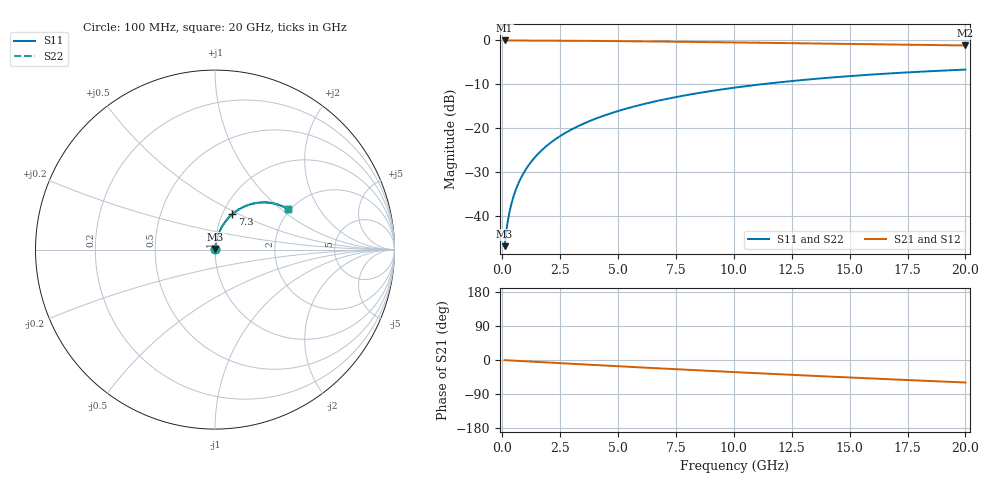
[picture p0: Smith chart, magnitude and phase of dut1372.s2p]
! Touchstone file exported from HFSS 2026.1.0
!  File:  C:/ffzhzh/LocalFiles/Ansys_Project_Files/temp_train_BSMRDL_1372_1783179369_55132.aedt
!  Generated:  11:37:38 PM Jul  4, 2026
!  Design:  BSMRDL
!  Project:  temp_train_BSMRDL_1372_1783179369_55132
! Variables:
!  h_bsmrdl = 5.31um
!  h_ox = 20um
!  h_rdl = 5um
!  h_sub = 80um
!  h_tmrdl = 5um
!  h_tsv = 80um
!  h_via = 3um
!  l_bsmrdl = 945.01um
!  l_sub = 1345.01um
!  l_tmrdl = 200um
!  m_sub = 200um
!  pitch = 55.1um
!  r_tsv = 6um
!  s_tmrdl = 10um
!  w_bsmrdl = 25.39um
!  w_sub = 500um
!  w_tmrdl = 12um
!  x_tsv_center1 = 206um
!  x_tsv_center2 = 1176.4um
!  x_tsv_center3 = 1388.4um
!  x_tsv_center4 = 2358.8um
!  x_tsv_center5 = 2570.8um
!  x_tsv_center6 = 3541.2um
# GHz S MA R 50.000000
! Terminal data exported
! Port[1] = BSM_RDL1_1_T1
! Port[2] = BSM_RDL1_1_T2
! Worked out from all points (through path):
!   200 points, 100 MHz to 20 GHz, reference 50 ohm
!   highest |S21| = -0.02 dB at 100 MHz (marker M1); lowest = -1.2 dB at 20 GHz (marker M2)
!   group delay of S21, straight-line fit = 8.24 ps
!   lowest |S11| = -47.0 dB at 100 MHz (marker M3), VSWR 1.01, Z = 50.3 + j0.357 ohm
!   |S11| at or under -10 dB: start of sweep to 11.24 GHz
!   |S22| runs from -47.0 to -6.7 dB; largest |S21 - S12| = 4.2e-14
!   S11 on the Smith chart (normalised r, x): 100 MHz: 1.01, +0.01; 7.3 GHz: 1.11, +0.46; 20 GHz: 1.93, +1.12
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0.1  0.004472 52.6  0.9973 -0.4  0.9973 -0.4  0.004472 52.6
! Gamma 0 0 0 0
! Port Impedance 50 0 50 0
0.2  0.007537 66.5  0.9971 -0.7  0.9971 -0.7  0.007537 66.5
0.3  0.01067 72.2  0.9969 -1.0  0.9969 -1.0  0.01067 72.2
0.4  0.01383 75.2  0.9967 -1.4  0.9967 -1.4  0.01383 75.2
0.5  0.01701 77.1  0.9966 -1.7  0.9966 -1.7  0.01701 77.1
0.7  0.02342 79.2  0.9963 -2.4  0.9963 -2.4  0.02342 79.2
1  0.03308 80.3  0.9959 -3.4  0.9959 -3.4  0.03308 80.3
1.2  0.03952 80.5  0.9955 -4.0  0.9955 -4.0  0.03952 80.5
1.4  0.04595 80.4  0.995 -4.7  0.995 -4.7  0.04595 80.4
1.7  0.05556 80.0  0.9943 -5.7  0.9943 -5.7  0.05556 80.0
2  0.0651 79.3  0.9934 -6.7  0.9934 -6.7  0.0651 79.3
2.7  0.08708 77.5  0.991 -9.0  0.991 -9.0  0.08708 77.6
3.5  0.1116 75.2  0.9877 -11.6  0.9877 -11.6  0.1116 75.3
4.2  0.1326 73.2  0.9844 -13.9  0.9844 -13.9  0.1326 73.2
5  0.156 70.8  0.9803 -16.5  0.9803 -16.5  0.156 70.8
6.8  0.2065 65.4  0.9697 -22.1  0.9697 -22.1  0.2065 65.4
7.3  0.2199 63.9  0.9665 -23.7  0.9665 -23.7  0.2199 64.0
8.6  0.2536 60.1  0.9576 -27.7  0.9576 -27.7  0.2536 60.1
10.1  0.2902 55.8  0.9467 -32.2  0.9467 -32.2  0.2902 55.8
13.4  0.3611 46.5  0.9214 -41.7  0.9214 -41.7  0.3611 46.6
16.7  0.4189 37.7  0.8965 -50.8  0.8965 -50.8  0.4189 37.7
20  0.4637 29.3  0.8742 -59.4  0.8742 -59.4  0.4637 29.3
